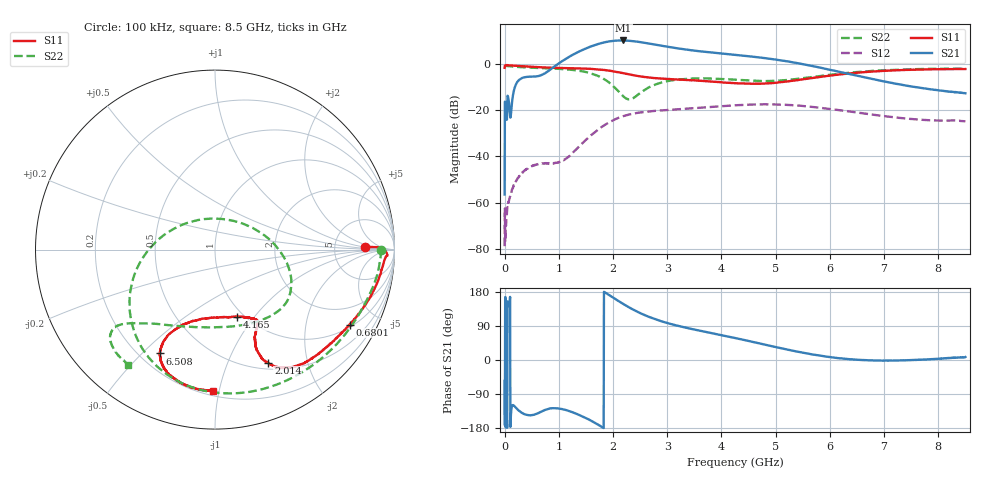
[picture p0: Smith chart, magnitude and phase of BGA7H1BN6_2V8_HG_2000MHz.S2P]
!Agilent Technologies,E5071C,MY46105553,A.09.30
!Date: Wed Sep 23 13:42:45 2015
!Data & Calibration Information:
!Freq	S11:SOLT2(ON)	S21:SOLT2(ON)	S12:SOLT2(ON)	S22:SOLT2(ON)
# Hz S dB R 50
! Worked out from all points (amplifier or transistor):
!   1601 points, 100 kHz to 8.5 GHz, reference 50 ohm
!   highest |S21| = 10.3 dB at 2.189 GHz (marker M1)
!   |S21| within 3 dB of that: 1.549 GHz to 3.073 GHz (1.524 GHz wide, 66 % of centre)
!   unconditionally stable (mu >= 1): start of sweep to end of sweep
!   at 1.413 GHz: K = 2.94, MAG = 12.8 dB, |S12| = -34.7 dB
!   at 4.25 GHz: K = 1.76, MAG = 5.9 dB, |S12| = -17.8 dB
!   at 8.5 GHz: K = 4.83, MAG = -3.7 dB, |S12| = -24.7 dB
!   lowest NFmin = 0.73 dB at 1.8 GHz
!   S11 on the Smith chart (normalised r, x): 100 kHz: 11, +1; 680.1 MHz: 1.10, -3.54; 2.014 GHz: 0.58, -1.42; 4.165 GHz: 0.93, -0.82; 6.508 GHz: 0.28, -0.57; 8.5 GHz: 0.23, -0.96
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100000  -1.55 1.1  -56.51 -55.1  -78.89 146.2  -0.68 0.0
4.791194e7  -0.35 -2.1  -20.12 -178.6  -62.62 94.2  -0.74 -6.3
1.275985e8  -0.57 -6.3  -18.82 -127.4  -55.21 89.4  -0.94 -15.9
2.125975e8  -0.67 -10.6  -8.58 -126.5  -50.63 87.9  -1.13 -25.0
3.879079e8  -0.92 -18.3  -5.53 -144.1  -45.75 84.6  -1.38 -42.0
6.80092e8  -1.31 -29.1  -4.65 -136.2  -43.06 84.1  -1.67 -67.1
1.041338e9  -1.63 -39.8  1.02 -129.2  -42.04 113.9  -2.05 -93.4
1.418521e9  -1.84 -49.8  5.99 -147.8  -34.59 147.5  -3.00 -120.9
1.694768e9  -2.14 -57.4  8.56 -168.1  -28.88 146.1  -4.78 -145.6
1.864766e9  -2.58 -61.8  9.62 177.1  -26.07 139.2  -6.86 -165.4
2.013514e9  -3.13 -64.7  10.16 163.7  -24.13 131.1  -9.67 171.8
2.188824e9  -3.87 -67.1  10.32 147.9  -22.51 120.7  -13.88 129.3
2.481008e9  -5.19 -66.2  9.68 125.1  -20.95 105.1  -12.83 35.2
2.836942e9  -6.11 -62.0  8.27 104.8  -20.09 92.0  -8.35 -5.7
3.37881e9  -6.87 -59.4  6.28 84.1  -19.17 79.7  -6.27 -30.8
4.165051e9  -8.10 -72.1  4.27 60.5  -17.92 65.6  -6.58 -57.3
4.25005e9  -8.19 -74.5  4.06 58.0  -17.79 63.9  -6.68 -60.7
4.956604e9  -8.13 -100.7  2.17 35.5  -17.42 48.0  -7.22 -96.1
5.668471e9  -5.99 -116.8  -0.73 15.0  -18.48 33.5  -5.59 -128.0
6.507836e9  -3.68 -117.9  -5.00 0.5  -20.95 27.0  -3.36 -141.8
7.086892e9  -2.76 -112.2  -7.87 -1.7  -22.73 30.4  -2.51 -141.1
8.5e9  -2.08 -90.8  -12.58 7.9  -24.73 53.9  -1.89 -127.1
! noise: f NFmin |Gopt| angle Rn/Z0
1.8e+09  0.7316  0.4626  48.02  0.3865
1.9e+09  0.7426  0.4624  50.32  0.3552
2e+09  0.7598  0.4511  52.98  0.3048
2.1e+09  0.7713  0.4794  57.87  0.2638
2.2e+09  0.7927  0.4499  59.1  0.2309
2.3e+09  0.8106  0.4848  57.38  0.222
2.4e+09  0.8302  0.4911  57.47  0.2477
2.5e+09  0.8556  0.4737  61.79  0.2294
2.6e+09  0.8777  0.4838  61.43  0.2352
2.7e+09  0.8928  0.4748  64.44  0.2167
